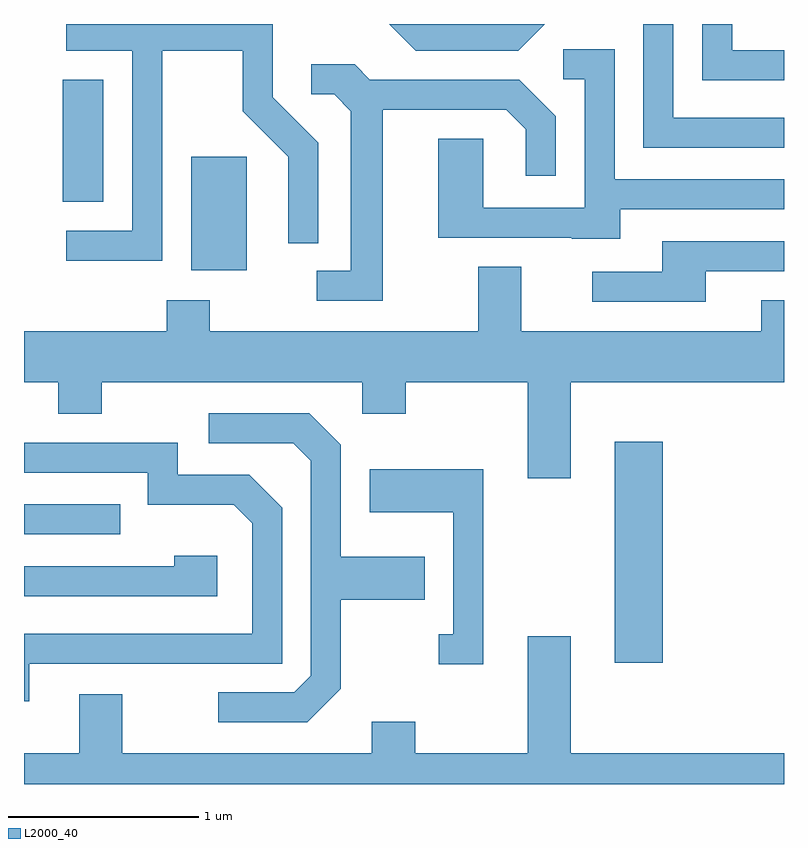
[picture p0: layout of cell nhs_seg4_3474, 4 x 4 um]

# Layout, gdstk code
import gdstk
lib = gdstk.Library(unit=1e-6, precision=1e-09)
def R(c, l, rs):  # rectangles x0, y0, x1, y1
    for r in rs: c.add(gdstk.rectangle(r[:2], r[2:], *l))
def P(c, l, *ps):  # polygons
    for p in ps: c.add(gdstk.Polygon(p, *l))
L2000_40 = (2000, 40)

nhs_seg4_3474 = lib.new_cell('nhs_seg4_3474')
R(nhs_seg4_3474, L2000_40, [(290.721,1266.621,290.974,1267.784), (287.611,1267.296,288.118,1267.454), (288.491,1268.686,288.784,1269.284), (287.816,1269.046,288.029,1269.689)])
P(nhs_seg4_3474, L2000_40, [(291.611,1269.844),(291.339,1269.844),(291.339,1269.982),(291.181,1269.982),(291.181,1269.686),(291.611,1269.686)],
  [(291.611,1269.489),(291.029,1269.489),(291.029,1269.982),(290.871,1269.982),(290.871,1269.331),(291.611,1269.331)],
  [(290.353,1269.982),(289.533,1269.982),(289.674,1269.841),(290.212,1269.841)],
  [(288.339,1269.841),(288.761,1269.841),(288.761,1269.524),(289.001,1269.284),(289.001,1268.828),(289.159,1268.828),(289.159,1269.357),(288.919,1269.597),(288.919,1269.982),(287.833,1269.982),(287.833,1269.841),(288.181,1269.841),(288.181,1268.894),(287.833,1268.894),(287.833,1268.736),(288.339,1268.736)],
  [(290.749,1269.006),(291.611,1269.006),(291.611,1269.164),(290.719,1269.164),(290.719,1269.849),(290.448,1269.849),(290.448,1269.691),(290.561,1269.691),(290.561,1269.014),(290.029,1269.014),(290.029,1269.379),(289.791,1269.379),(289.791,1268.856),(290.495,1268.856),(290.495,1268.851),(290.749,1268.851)],
  [(289.499,1269.531),(290.149,1269.531),(290.251,1269.429),(290.251,1269.183),(290.409,1269.183),(290.409,1269.497),(290.217,1269.689),(289.432,1269.689),(289.352,1269.769),(289.123,1269.769),(289.123,1269.611),(289.244,1269.611),(289.331,1269.524),(289.331,1268.684),(289.153,1268.684),(289.153,1268.526),(289.499,1268.526)],
  [(291.199,1268.681),(291.611,1268.681),(291.611,1268.839),(290.971,1268.839),(290.971,1268.679),(290.603,1268.679),(290.603,1268.521),(291.199,1268.521)],
  [(290.489,1268.096),(291.611,1268.096),(291.611,1268.529),(291.491,1268.529),(291.491,1268.364),(290.229,1268.364),(290.229,1268.704),(290.001,1268.704),(290.001,1268.364),(288.589,1268.364),(288.589,1268.529),(288.361,1268.529),(288.361,1268.364),(287.611,1268.364),(287.611,1268.096),(287.791,1268.096),(287.791,1267.931),(288.019,1267.931),(288.019,1268.096),(289.391,1268.096),(289.391,1267.931),(289.619,1267.931),(289.619,1268.096),(290.261,1268.096),(290.261,1267.591),(290.489,1267.591)],
  [(289.279,1266.484),(289.279,1266.951),(289.719,1266.951),(289.719,1267.179),(289.279,1267.179),(289.279,1267.767),(289.112,1267.934),(288.583,1267.934),(288.583,1267.776),(289.029,1267.776),(289.121,1267.684),(289.121,1266.552),(289.034,1266.464),(288.633,1266.464),(288.633,1266.306),(289.102,1266.306)],
  [(287.639,1266.616),(288.969,1266.616),(288.969,1267.437),(288.797,1267.609),(288.419,1267.609),(288.419,1267.779),(287.611,1267.779),(287.611,1267.621),(288.261,1267.621),(288.261,1267.451),(288.714,1267.451),(288.811,1267.354),(288.811,1266.774),(287.611,1266.774),(287.611,1266.418),(287.639,1266.418)],
  [(290.029,1267.639),(289.431,1267.639),(289.431,1267.411),(289.871,1267.411),(289.871,1266.769),(289.793,1266.769),(289.793,1266.611),(290.029,1266.611)],
  [(288.629,1267.184),(288.401,1267.184),(288.401,1267.129),(287.611,1267.129),(287.611,1266.971),(288.629,1266.971)],
  [(291.611,1266.144),(290.489,1266.144),(290.489,1266.759),(290.261,1266.759),(290.261,1266.144),(289.669,1266.144),(289.669,1266.309),(289.441,1266.309),(289.441,1266.144),(288.129,1266.144),(288.129,1266.454),(287.901,1266.454),(287.901,1266.144),(287.611,1266.144),(287.611,1265.982),(291.611,1265.982)])

lib.write_gds('nhs_seg4_3474.gds')
